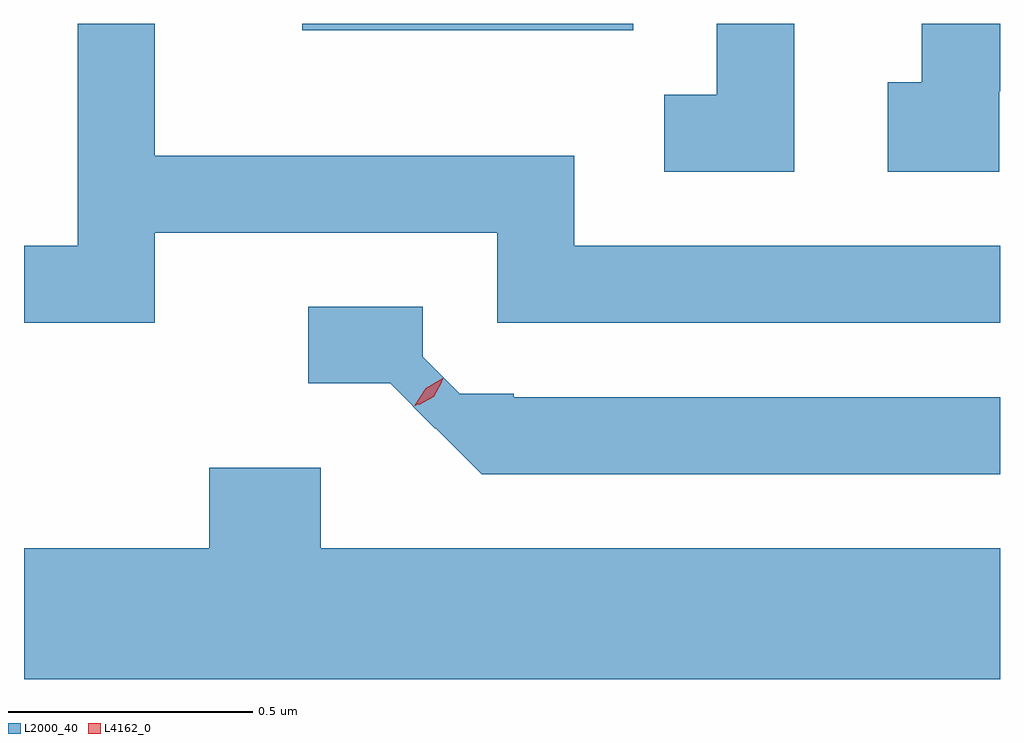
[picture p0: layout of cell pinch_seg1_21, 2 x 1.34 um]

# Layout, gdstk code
import gdstk
lib = gdstk.Library(unit=1e-6, precision=1e-09)
def R(c, l, rs):  # rectangles x0, y0, x1, y1
    for r in rs: c.add(gdstk.rectangle(r[:2], r[2:], *l))
def P(c, l, *ps):  # polygons
    for p in ps: c.add(gdstk.Polygon(p, *l))
L2000_40 = (2000, 40)
L4162_0 = (4162, 0)

pinch_seg1_21 = lib.new_cell('pinch_seg1_21')
R(pinch_seg1_21, L2000_40, [(1765.341,947.526,1766.019,947.539)])
P(pinch_seg1_21, L2000_40, [(1766.769,947.401),(1766.771,947.401),(1766.771,947.539),(1766.611,947.539),(1766.611,947.419),(1766.541,947.419),(1766.541,947.236),(1766.769,947.236)],
  [(1766.349,947.539),(1766.191,947.539),(1766.191,947.394),(1766.083,947.394),(1766.083,947.236),(1766.349,947.236)],
  [(1765.039,947.111),(1765.741,947.111),(1765.741,946.926),(1766.771,946.926),(1766.771,947.084),(1765.899,947.084),(1765.899,947.269),(1765.039,947.269),(1765.039,947.539),(1764.881,947.539),(1764.881,947.084),(1764.771,947.084),(1764.771,946.926),(1765.039,946.926)],
  [(1766.771,946.774),(1765.775,946.774),(1765.775,946.781),(1765.664,946.781),(1765.588,946.857),(1765.588,946.959),(1765.353,946.959),(1765.353,946.802),(1765.521,946.802),(1765.614,946.709),(1765.615,946.71),(1765.709,946.616),(1766.771,946.616)],
  [(1766.771,946.464),(1765.379,946.464),(1765.379,946.629),(1765.151,946.629),(1765.151,946.464),(1764.771,946.464),(1764.771,946.196),(1766.771,946.196)])
P(pinch_seg1_21, L4162_0, [(1765.572,946.756),(1765.572,946.757),(1765.594,946.792),(1765.629,946.813),(1765.63,946.813),(1765.63,946.812),(1765.608,946.777),(1765.573,946.756)],
  [(1765.58,946.758),(1765.58,946.759),(1765.596,946.789),(1765.626,946.806),(1765.627,946.806),(1765.627,946.805),(1765.611,946.775),(1765.581,946.758)])

lib.write_gds('pinch_seg1_21.gds')
